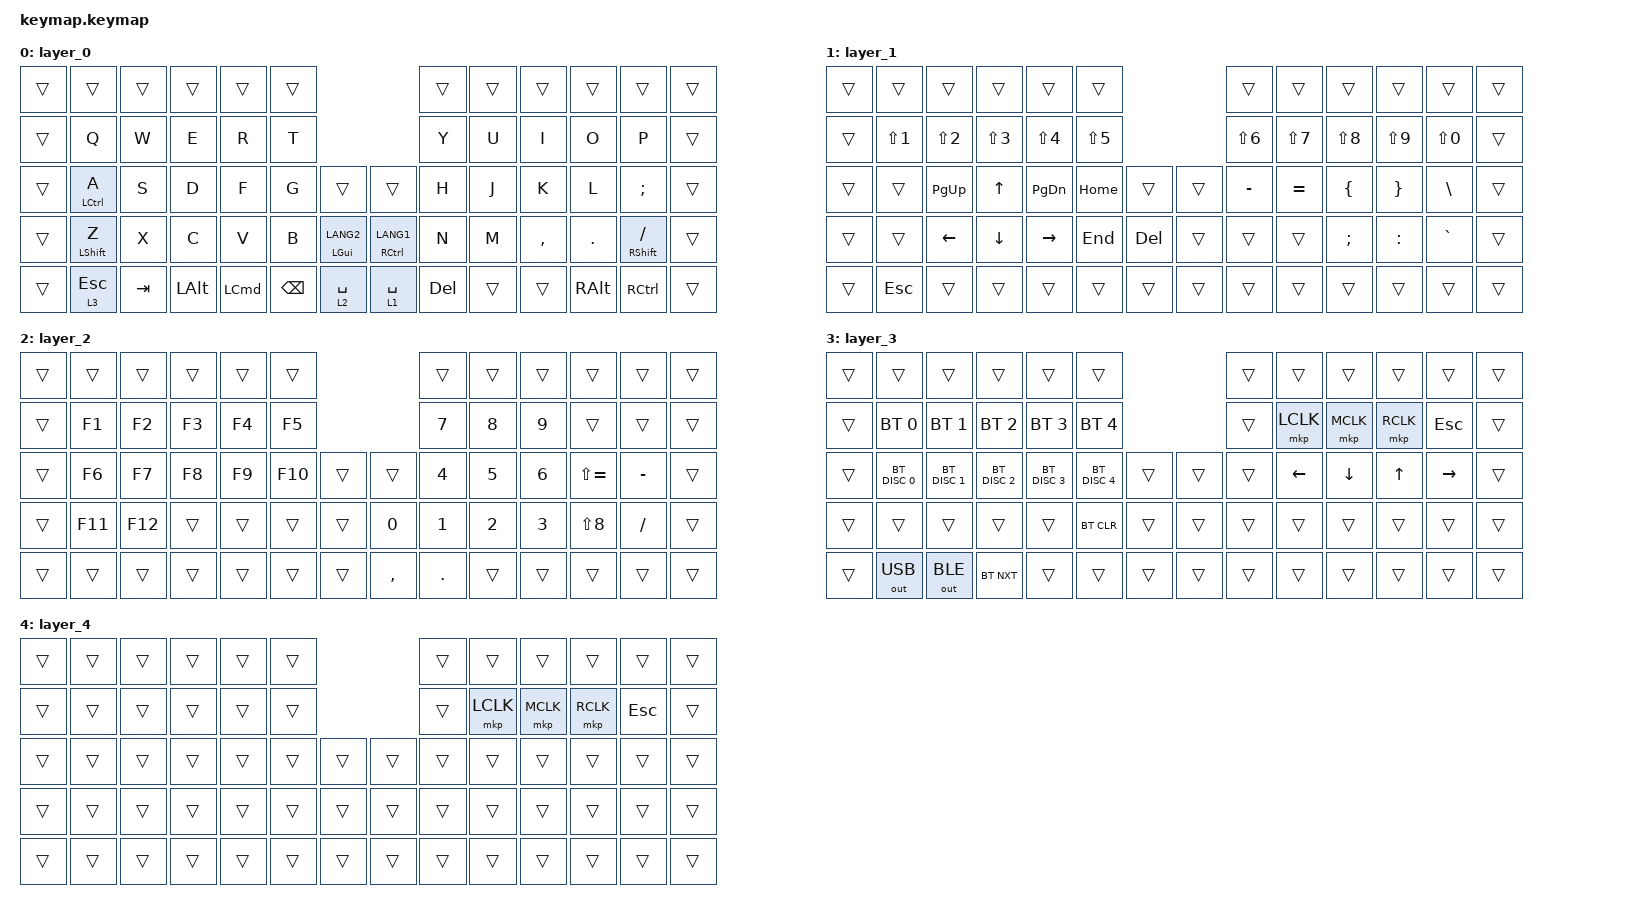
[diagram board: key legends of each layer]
#include <behaviors.dtsi>
#include <dt-bindings/zmk/bt.h>
#include <dt-bindings/zmk/keys.h>
#include <dt-bindings/zmk/outputs.h>
#include <dt-bindings/zmk/pointing.h>

/ {
    combos {
        compatible = "zmk,combos";

        bt_clear {
            bindings = <&bt BT_CLR>;
            key-positions = <28 29>;
            layers = <2>;
        };
    };

    keymap {
        compatible = "zmk,keymap";

        layer_0 {
            bindings = <
&trans  &trans        &trans   &trans    &trans            &trans                                          &trans      &trans  &trans     &trans    &trans           &trans
&trans  &kp Q         &kp W    &kp E     &kp R             &kp T                                           &kp Y       &kp U   &kp I      &kp O     &kp P            &trans
&trans  &mt LCTRL A   &kp S    &kp D     &kp F             &kp G          &trans          &trans           &kp H       &kp J   &kp K      &kp L     &kp SEMI         &trans
&trans  &mt LSHIFT Z  &kp X    &kp C     &kp V             &kp B          &mt LGUI LANG2  &mt RCTRL LANG1  &kp N       &kp M   &kp COMMA  &kp DOT   &mt RSHIFT FSLH  &trans
&trans  &lt 3 ESCAPE  &kp TAB  &kp LALT  &kp LEFT_COMMAND  &kp BACKSPACE  &lt 2 SPACE     &lt 1 SPACE      &kp DELETE  &trans  &trans     &kp RALT  &kp RCTRL        &trans
            >;
        };

        layer_1 {
            bindings = <
&trans  &trans      &trans      &trans        &trans         &trans                       &trans      &trans      &trans          &trans           &trans         &trans
&trans  &kp LS(N1)  &kp LS(N2)  &kp LS(N3)    &kp LS(N4)     &kp LS(N5)                   &kp LS(N6)  &kp LS(N7)  &kp LS(N8)      &kp LS(N9)       &kp LS(N0)     &trans
&trans  &trans      &kp PG_UP   &kp UP_ARROW  &kp PAGE_DOWN  &kp HOME    &trans   &trans  &kp MINUS   &kp EQUAL   &kp LEFT_BRACE  &kp RIGHT_BRACE  &kp BACKSLASH  &trans
&trans  &trans      &kp LEFT    &kp DOWN      &kp RIGHT      &kp END     &kp DEL  &trans  &trans      &trans      &kp SEMI        &kp COLON        &kp GRAVE      &trans
&trans  &kp ESC     &trans      &trans        &trans         &trans      &trans   &trans  &trans      &trans      &trans          &trans           &trans         &trans
            >;
        };

        layer_2 {
            bindings = <
&trans  &trans   &trans   &trans  &trans  &trans                      &trans   &trans  &trans  &trans         &trans     &trans
&trans  &kp F1   &kp F2   &kp F3  &kp F4  &kp F5                      &kp N7   &kp N8  &kp N9  &trans         &trans     &trans
&trans  &kp F6   &kp F7   &kp F8  &kp F9  &kp F10  &trans  &trans     &kp N4   &kp N5  &kp N6  &kp LS(EQUAL)  &kp MINUS  &trans
&trans  &kp F11  &kp F12  &trans  &trans  &trans   &trans  &kp N0     &kp N1   &kp N2  &kp N3  &kp LS(N8)     &kp FSLH   &trans
&trans  &trans   &trans   &trans  &trans  &trans   &trans  &kp COMMA  &kp DOT  &trans  &trans  &trans         &trans     &trans
            >;
        };

        layer_3 {
            bindings = <
&trans  &trans         &trans         &trans         &trans         &trans                         &trans  &trans     &trans     &trans        &trans     &trans
&trans  &bt BT_SEL 0   &bt BT_SEL 1   &bt BT_SEL 2   &bt BT_SEL 3   &bt BT_SEL 4                   &trans  &mkp LCLK  &mkp MCLK  &mkp RCLK     &kp ESC    &trans
&trans  &bt BT_DISC 0  &bt BT_DISC 1  &bt BT_DISC 2  &bt BT_DISC 3  &bt BT_DISC 4  &trans  &trans  &trans  &kp LEFT   &kp DOWN   &kp UP_ARROW  &kp RIGHT  &trans
&trans  &trans         &trans         &trans         &trans         &bt BT_CLR     &trans  &trans  &trans  &trans     &trans     &trans        &trans     &trans
&trans  &out OUT_USB   &out OUT_BLE   &bt BT_NXT     &trans         &trans         &trans  &trans  &trans  &trans     &trans     &trans        &trans     &trans
            >;
        };

        layer_4 {
            bindings = <
&trans  &trans  &trans  &trans  &trans  &trans                  &trans  &trans     &trans     &trans     &trans   &trans
&trans  &trans  &trans  &trans  &trans  &trans                  &trans  &mkp LCLK  &mkp MCLK  &mkp RCLK  &kp ESC  &trans
&trans  &trans  &trans  &trans  &trans  &trans  &trans  &trans  &trans  &trans     &trans     &trans     &trans   &trans
&trans  &trans  &trans  &trans  &trans  &trans  &trans  &trans  &trans  &trans     &trans     &trans     &trans   &trans
&trans  &trans  &trans  &trans  &trans  &trans  &trans  &trans  &trans  &trans     &trans     &trans     &trans   &trans
            >;
        };
    };
}; // ← ここでファイル全体（ルート）を一度完全に閉じます。
